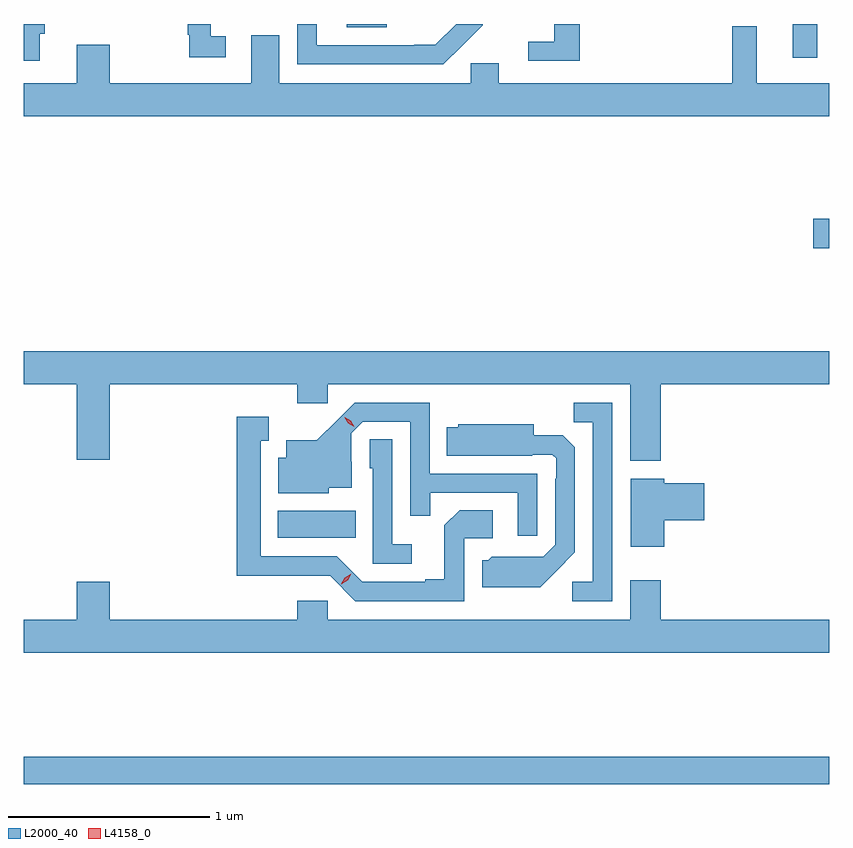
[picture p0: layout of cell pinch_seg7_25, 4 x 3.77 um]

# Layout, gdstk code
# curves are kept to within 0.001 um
import gdstk
lib = gdstk.Library(unit=1e-6, precision=1e-09)
def R(c, l, rs):  # rectangles x0, y0, x1, y1
    for r in rs: c.add(gdstk.rectangle(r[:2], r[2:], *l))
def P(c, l, *ps):  # polygons
    for p in ps: c.add(gdstk.Polygon(p, *l))
L2000_40 = (2000, 40)
L4158_0 = (4158, 0)

pinch_seg7_25 = lib.new_cell('pinch_seg7_25')
R(pinch_seg7_25, L2000_40, [(1039.869,1042.588,1043.869,1042.724), (1041.131,1043.81,1041.518,1043.944), (1043.79,1045.247,1043.869,1045.394), (1043.687,1046.193,1043.809,1046.361), (1041.474,1046.346,1041.672,1046.361)])
P(pinch_seg7_25, L2000_40, [(1039.949,1046.312),(1039.973,1046.312),(1039.973,1046.361),(1039.869,1046.361),(1039.869,1046.178),(1039.949,1046.178)],
  [(1042.631,1046.361),(1042.503,1046.361),(1042.503,1046.274),(1042.374,1046.274),(1042.374,1046.178),(1042.631,1046.178)],
  [(1040.872,1046.301),(1040.799,1046.301),(1040.799,1046.361),(1040.683,1046.361),(1040.683,1046.308),(1040.691,1046.308),(1040.691,1046.196),(1040.872,1046.196)],
  [(1042.043,1046.251),(1042.044,1046.25),(1042.149,1046.355),(1042.149,1046.361),(1042.017,1046.361),(1041.913,1046.257),(1041.809,1046.256),(1041.325,1046.256),(1041.325,1046.361),(1041.228,1046.361),(1041.228,1046.16),(1041.952,1046.16)],
  [(1043.869,1046.068),(1043.509,1046.068),(1043.509,1046.35),(1043.388,1046.35),(1043.388,1046.068),(1042.228,1046.068),(1042.228,1046.166),(1042.089,1046.166),(1042.089,1046.068),(1041.139,1046.068),(1041.139,1046.304),(1040.999,1046.304),(1040.999,1046.068),(1040.296,1046.068),(1040.296,1046.257),(1040.132,1046.257),(1040.132,1046.068),(1039.869,1046.068),(1039.869,1045.904),(1043.869,1045.904)],
  [(1043.033,1044.572),(1043.869,1044.572),(1043.869,1044.736),(1039.869,1044.736),(1039.869,1044.572),(1040.132,1044.572),(1040.132,1044.198),(1040.296,1044.198),(1040.296,1044.572),(1041.227,1044.572),(1041.227,1044.477),(1041.378,1044.477),(1041.378,1044.572),(1042.88,1044.572),(1042.88,1044.192),(1043.033,1044.192)],
  [(1042.791,1044.48),(1042.6,1044.48),(1042.6,1044.385),(1042.695,1044.385),(1042.695,1043.592),(1042.593,1043.592),(1042.593,1043.496),(1042.791,1043.496)],
  [(1042.419,1044.129),(1041.885,1044.129),(1041.885,1044.48),(1041.512,1044.48),(1041.325,1044.295),(1041.173,1044.295),(1041.173,1044.208),(1041.134,1044.208),(1041.134,1044.032),(1041.384,1044.032),(1041.384,1044.059),(1041.499,1044.059),(1041.499,1044.188),(1041.495,1044.188),(1041.495,1044.33),(1041.552,1044.387),(1041.789,1044.387),(1041.789,1043.92),(1041.887,1043.92),(1041.887,1044.033),(1042.323,1044.033),(1042.323,1043.82),(1042.419,1043.82)],
  [(1042.056,1043.808),(1042.198,1043.808),(1042.198,1043.948),(1042.033,1043.948),(1041.957,1043.872),(1041.957,1043.605),(1041.863,1043.605),(1041.863,1043.592),(1041.549,1043.592),(1041.423,1043.718),(1041.046,1043.718),(1041.046,1044.291),(1041.085,1044.291),(1041.085,1044.412),(1040.928,1044.412),(1040.928,1043.621),(1041.39,1043.622),(1041.516,1043.496),(1042.056,1043.496)],
  [(1042.513,1043.645),(1042.605,1043.738),(1042.605,1044.26),(1042.546,1044.319),(1042.402,1044.319),(1042.402,1044.373),(1042.026,1044.373),(1042.026,1044.358),(1041.97,1044.358),(1041.97,1044.218),(1042.394,1044.218),(1042.394,1044.222),(1042.494,1044.222),(1042.512,1044.204),(1042.512,1044.104),(1042.509,1044.104),(1042.509,1043.775),(1042.449,1043.715),(1042.192,1043.716),(1042.176,1043.7),(1042.145,1043.7),(1042.145,1043.564),(1042.433,1043.564)],
  [(1041.796,1043.779),(1041.699,1043.779),(1041.699,1044.299),(1041.588,1044.299),(1041.588,1044.156),(1041.603,1044.156),(1041.603,1043.682),(1041.796,1043.682)],
  [(1043.05,1043.897),(1043.248,1043.897),(1043.248,1044.08),(1043.05,1044.08),(1043.05,1044.103),(1042.883,1044.103),(1042.883,1043.766),(1043.05,1043.766)],
  [(1043.869,1043.404),(1043.033,1043.404),(1043.033,1043.599),(1042.88,1043.599),(1042.88,1043.404),(1041.378,1043.404),(1041.378,1043.497),(1041.227,1043.497),(1041.227,1043.404),(1040.296,1043.404),(1040.296,1043.593),(1040.132,1043.593),(1040.132,1043.404),(1039.869,1043.404),(1039.869,1043.24),(1043.869,1043.24)])
P(pinch_seg7_25, L4158_0, [(1041.51,1044.362),(1041.48,1044.378),(1041.463,1044.407),(1041.463,1044.408),(1041.463,1044.408),(1041.494,1044.392),(1041.51,1044.362),(1041.51,1044.362)],
  [(1041.446,1043.58),(1041.446,1043.581),(1041.464,1043.613),(1041.495,1043.632),(1041.496,1043.632),(1041.496,1043.632),(1041.478,1043.599),(1041.446,1043.58)])

lib.write_gds('pinch_seg7_25.gds')
